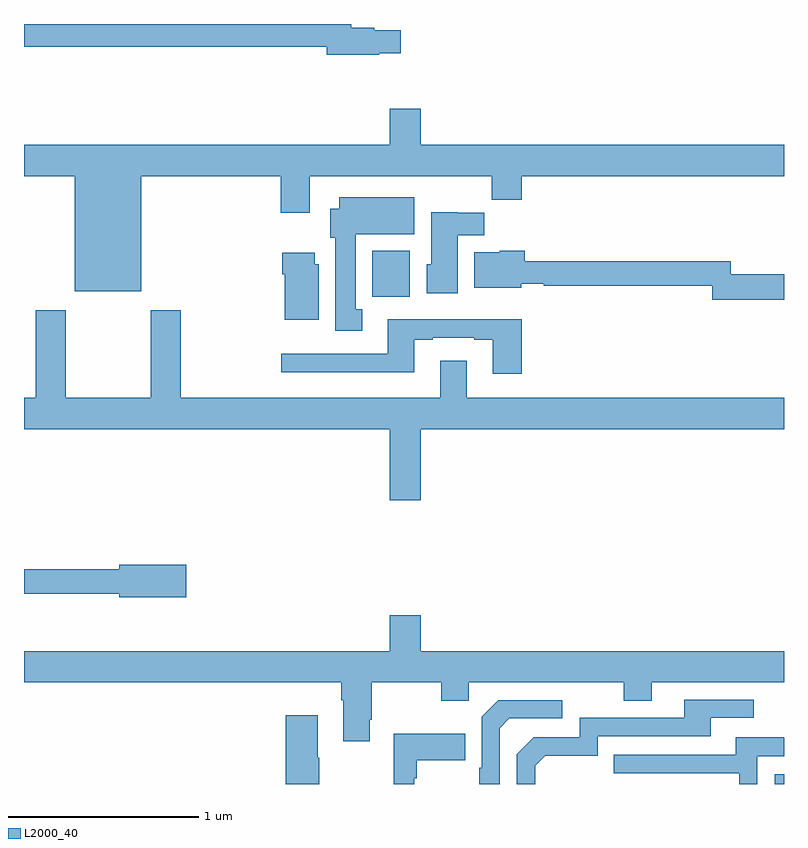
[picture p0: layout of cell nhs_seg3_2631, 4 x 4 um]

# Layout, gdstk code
import gdstk
lib = gdstk.Library(unit=1e-6, precision=1e-09)
def R(c, l, rs):  # rectangles x0, y0, x1, y1
    for r in rs: c.add(gdstk.rectangle(r[:2], r[2:], *l))
def P(c, l, *ps):  # polygons
    for p in ps: c.add(gdstk.Polygon(p, *l))
L2000_40 = (2000, 40)

nhs_seg3_2631 = lib.new_cell('nhs_seg3_2631')
R(nhs_seg3_2631, L2000_40, [(250.95,680.4,251,680.452), (248.834,682.964,249.031,683.206)])
P(nhs_seg3_2631, L2000_40, [(248.87,684.245),(248.983,684.245),(248.983,684.367),(248.844,684.367),(248.844,684.38),(248.722,684.38),(248.722,684.4),(247,684.4),(247,684.28),(248.594,684.28),(248.594,684.238),(248.87,684.238)],
  [(247.618,683.6),(248.351,683.6),(248.351,683.406),(248.503,683.406),(248.503,683.6),(249.463,683.6),(249.463,683.476),(249.62,683.476),(249.62,683.6),(251,683.6),(251,683.764),(249.088,683.764),(249.088,683.953),(248.924,683.953),(248.924,683.764),(247,683.764),(247,683.6),(247.268,683.6),(247.268,682.994),(247.618,682.994)],
  [(248.779,682.898),(248.746,682.898),(248.746,683.294),(249.055,683.294),(249.055,683.488),(248.66,683.488),(248.66,683.428),(248.612,683.428),(248.612,683.274),(248.639,683.274),(248.639,682.785),(248.779,682.785)],
  [(249.283,683.288),(249.422,683.288),(249.422,683.406),(249.279,683.406),(249.279,683.41),(249.143,683.41),(249.143,683.136),(249.119,683.136),(249.119,682.982),(249.283,682.982)],
  [(251,683.084),(250.719,683.084),(250.719,683.152),(249.636,683.152),(249.636,683.206),(249.504,683.206),(249.504,683.2),(249.371,683.2),(249.371,683.012),(249.618,683.012),(249.618,683.034),(249.736,683.034),(249.736,683.023),(250.623,683.023),(250.623,682.948),(251,682.948)],
  [(248.551,683.136),(248.53,683.136),(248.53,683.197),(248.36,683.197),(248.36,683.084),(248.372,683.084),(248.372,682.844),(248.551,682.844)],
  [(249.088,682.268),(251,682.268),(251,682.432),(249.331,682.432),(249.331,682.627),(249.191,682.627),(249.191,682.432),(247.826,682.432),(247.826,682.894),(247.666,682.894),(247.666,682.432),(247.221,682.432),(247.221,682.894),(247.061,682.894),(247.061,682.432),(247,682.432),(247,682.268),(248.924,682.268),(248.924,681.894),(249.088,681.894)],
  [(249.62,682.846),(248.915,682.846),(248.915,682.665),(248.355,682.665),(248.355,682.568),(249.055,682.568),(249.055,682.737),(249.151,682.737),(249.151,682.749),(249.371,682.749),(249.371,682.737),(249.467,682.737),(249.467,682.56),(249.62,682.56)],
  [(247.855,681.554),(247.502,681.554),(247.502,681.53),(247,681.53),(247,681.402),(247.502,681.402),(247.502,681.383),(247.855,681.383)],
  [(248.821,680.737),(248.829,680.737),(248.829,680.936),(249.196,680.936),(249.196,680.837),(249.342,680.837),(249.342,680.936),(250.156,680.936),(250.156,680.837),(250.303,680.837),(250.303,680.936),(251,680.936),(251,681.1),(249.088,681.1),(249.088,681.289),(248.924,681.289),(248.924,681.1),(247,681.1),(247,680.936),(248.669,680.936),(248.669,680.84),(248.681,680.84),(248.681,680.625),(248.821,680.625)],
  [(249.69,680.496),(249.743,680.549),(250.02,680.549),(250.02,680.652),(250.615,680.652),(250.615,680.748),(250.84,680.748),(250.84,680.844),(250.475,680.844),(250.475,680.748),(249.924,680.748),(249.924,680.646),(249.684,680.646),(249.594,680.556),(249.594,680.4),(249.69,680.4)],
  [(249.504,680.694),(249.555,680.745),(249.832,680.745),(249.832,680.841),(249.495,680.841),(249.408,680.754),(249.408,680.485),(249.396,680.485),(249.396,680.4),(249.504,680.4)],
  [(248.553,680.537),(248.545,680.537),(248.545,680.761),(248.378,680.761),(248.378,680.4),(248.553,680.4)],
  [(249.054,680.429),(249.067,680.429),(249.067,680.525),(249.323,680.525),(249.323,680.665),(248.946,680.665),(248.946,680.4),(249.054,680.4)],
  [(250.86,680.547),(251,680.547),(251,680.643),(250.999,680.643),(250.999,680.647),(250.745,680.647),(250.745,680.553),(250.105,680.553),(250.105,680.457),(250.764,680.457),(250.764,680.4),(250.86,680.4)])

lib.write_gds('nhs_seg3_2631.gds')
